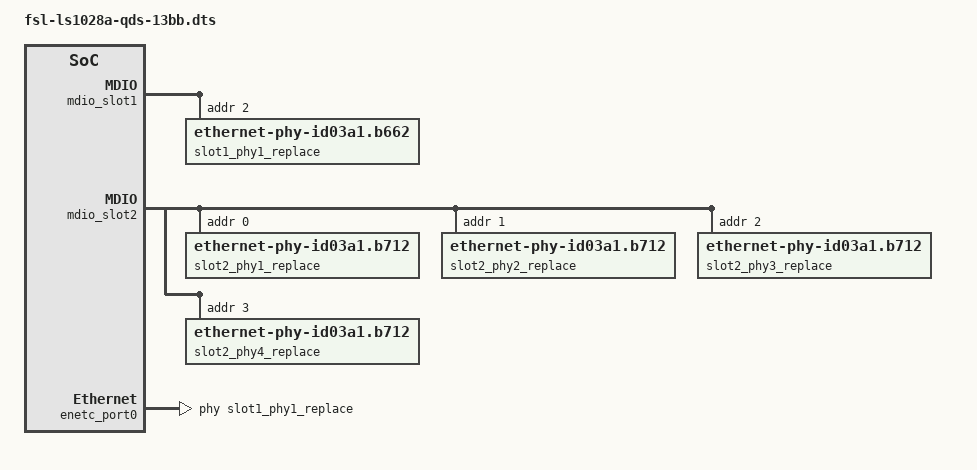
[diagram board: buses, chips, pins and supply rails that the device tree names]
/*
 * Device Tree Include file for NXP Layerscape-1088A family SoC.
 *
 * SPDX-License-Identifier: GPL-2.0+
 * Copyright 2018-2019 NXP
 *
 * Harninder Rai <harninder.rai@nxp.com>
 *
 */

/dts-v1/;
#include "fsl-ls1028a-qds.dts"

&mdio_slot1 {
	/* AQR112 PHY - USXGMII (up to 2.5G) */
	slot1_phy1_replace: mdio_phy0@02 {
		compatible = "ethernet-phy-id03a1.b662";
		reg = <2>;
	};
};

&mdio_slot2 {
	/* AQR412 PHY - QSXGMII (4*2.5G) */
	slot2_phy1_replace: emdio1_phy@1 {
		compatible = "ethernet-phy-id03a1.b712";
		reg = <0>;
	};
	slot2_phy2_replace: emdio1_phy@2 {
		compatible = "ethernet-phy-id03a1.b712";
		reg = <1>;
	};
	slot2_phy3_replace: emdio1_phy@3 {
		compatible = "ethernet-phy-id03a1.b712";
		reg = <2>;
	};
	slot2_phy4_replace: emdio1_phy@4 {
		compatible = "ethernet-phy-id03a1.b712";
		reg = <3>;
	};
};

&enetc_port0 {
	phy-handle = <&slot1_phy1_replace>;
};

/* l2switch ports don't use the PHYs yet, due to a probing order issue */
